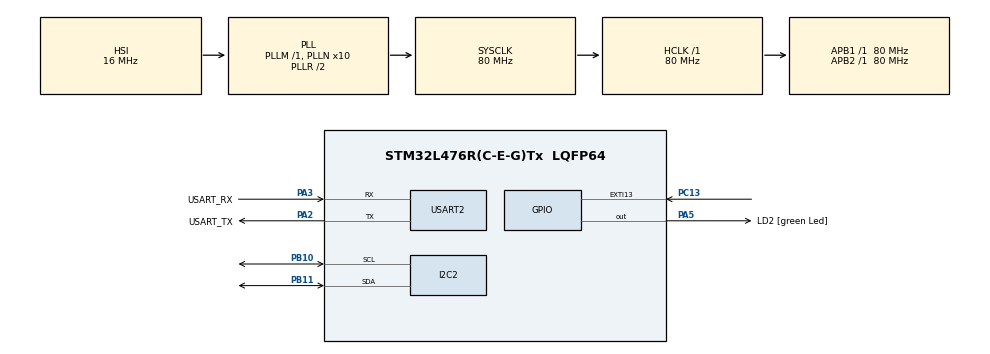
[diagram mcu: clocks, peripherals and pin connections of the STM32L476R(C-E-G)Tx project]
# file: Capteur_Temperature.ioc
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I2C2.OwnAddress2Masks=I2C_OA2_NOMASK
I2C2.Timing=0x10909CEC
Mcu.Family=STM32L4
Mcu.Name=STM32L476R(C-E-G)Tx
Mcu.Package=LQFP64
NVIC.EXTI15_10_IRQn=true\:0\:0\:false\:false\:true
NVIC.I2C2_ER_IRQn=true\:0\:0\:false\:false\:true
NVIC.I2C2_EV_IRQn=true\:0\:0\:false\:false\:true
NVIC.PriorityGroup=NVIC_PRIORITYGROUP_4
NVIC.RCC_IRQn=true\:0\:0\:false\:false\:true
NVIC.USART2_IRQn=true\:0\:0\:false\:false\:true
PA13.GPIO_Label=TMS
PA13.Signal=SYS_JTMS-SWDIO
PA14.GPIO_Label=TCK
PA14.Signal=SYS_JTCK-SWCLK
PA2.GPIO_Label=USART_TX
PA2.GPIO_Mode=GPIO_MODE_AF_PP
PA2.GPIO_PuPd=GPIO_NOPULL
PA2.GPIO_Speed=GPIO_SPEED_FREQ_VERY_HIGH
PA2.Mode=Asynchronous
PA2.Signal=USART2_TX
PA3.GPIO_Label=USART_RX
PA3.GPIO_Mode=GPIO_MODE_AF_PP
PA3.GPIO_PuPd=GPIO_NOPULL
PA3.GPIO_Speed=GPIO_SPEED_FREQ_VERY_HIGH
PA3.Mode=Asynchronous
PA3.Signal=USART2_RX
PA5.GPIO_Label=LD2 [green Led]
PA5.GPIO_ModeDefaultOutputPP=GPIO_MODE_OUTPUT_PP
PA5.GPIO_PuPd=GPIO_NOPULL
PA5.GPIO_Speed=GPIO_SPEED_FREQ_LOW
PA5.Signal=GPIO_Output
PB10.GPIO_Speed=GPIO_SPEED_FREQ_HIGH
PB10.Mode=I2C
PB10.Signal=I2C2_SCL
PB11.GPIO_Speed=GPIO_SPEED_FREQ_HIGH
PB11.Mode=I2C
PB11.Signal=I2C2_SDA
PB3.GPIO_Label=SWO
PB3.Signal=SYS_JTDO-SWO
PC13.GPIO_PuPd=GPIO_NOPULL
PC13.Signal=GPXTI13
PC14/OSC32_IN.Signal=RCC_OSC32_IN
PC15/OSC32_OUT.Signal=RCC_OSC32_OUT
PH0/OSC_IN.Mode=HSE-External-Oscillator
PH0/OSC_IN.Signal=RCC_OSC_IN
PH1/OSC_OUT.Mode=HSE-External-Oscillator
PH1/OSC_OUT.Signal=RCC_OSC_OUT
ProjectManager.HeapSize=0x200
ProjectManager.StackSize=0x400
ProjectManager.TargetToolchain=EWARM
RCC.ADCFreq_Value=64000000
RCC.AHBFreq_Value=80000000
RCC.APB1Freq_Value=80000000
RCC.APB1TimFreq_Value=80000000
RCC.APB2Freq_Value=80000000
RCC.APB2TimFreq_Value=80000000
RCC.ClockTypeHCLK=RCC_CLOCKTYPE_HCLK
RCC.ClockTypePCLK1=RCC_CLOCKTYPE_PCLK1
RCC.ClockTypePCLK2=RCC_CLOCKTYPE_PCLK2
RCC.ClockTypeSysClk=RCC_CLOCKTYPE_SYSCLK
RCC.CortexFreq_Value=80000000
RCC.EnableCSSLSE=false
RCC.EnbaleCSS=false
RCC.HCLKFreq_Value=80000000
RCC.HSE_VALUE=8000000
RCC.HSI_VALUE=16000000
RCC.LSE_VALUE=32768
RCC.MSI_VALUE=4000000
RCC.PLLN=10
RCC.PLLSourceVirtual=RCC_PLLSOURCE_HSI
RCC.PREFETCH_ENABLE=1
RCC.SYSCLKFreq_VALUE=80000000
RCC.SYSCLKSource=RCC_SYSCLKSOURCE_PLLCLK
RCC.USBFreq_Value=64000000
RCC.VCOOutputFreq_Value=160000000
USART2.HwFlowCtl-Asynchronous=UART_HWCONTROL_NONE
USART2.VirtualMode-Asynchronous=VM_ASYNC
USART2.WordLength=UART_WORDLENGTH_8B
board=NUCLEO-L476RG

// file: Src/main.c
/**
  ******************************************************************************
  * File Name          : main.c
  * Description        : Main program body
  ******************************************************************************
  *
  * COPYRIGHT(c) 2017 STMicroelectronics
  *
  * Redistribution and use in source and binary forms, with or without modification,
  * are permitted provided that the following conditions are met:
  *   1. Redistributions of source code must retain the above copyright notice,
  *      this list of conditions and the following disclaimer.
  *   2. Redistributions in binary form must reproduce the above copyright notice,
  *      this list of conditions and the following disclaimer in the documentation
  *      and/or other materials provided with the distribution.
  *   3. Neither the name of STMicroelectronics nor the names of its contributors
  *      may be used to endorse or promote products derived from this software
  *      without specific prior written permission.
  *
  * THIS SOFTWARE IS PROVIDED BY THE COPYRIGHT HOLDERS AND CONTRIBUTORS "AS IS"
  * AND ANY EXPRESS OR IMPLIED WARRANTIES, INCLUDING, BUT NOT LIMITED TO, THE
  * IMPLIED WARRANTIES OF MERCHANTABILITY AND FITNESS FOR A PARTICULAR PURPOSE ARE
  * DISCLAIMED. IN NO EVENT SHALL THE COPYRIGHT HOLDER OR CONTRIBUTORS BE LIABLE
  * FOR ANY DIRECT, INDIRECT, INCIDENTAL, SPECIAL, EXEMPLARY, OR CONSEQUENTIAL
  * DAMAGES (INCLUDING, BUT NOT LIMITED TO, PROCUREMENT OF SUBSTITUTE GOODS OR
  * SERVICES; LOSS OF USE, DATA, OR PROFITS; OR BUSINESS INTERRUPTION) HOWEVER
  * CAUSED AND ON ANY THEORY OF LIABILITY, WHETHER IN CONTRACT, STRICT LIABILITY,
  * OR TORT (INCLUDING NEGLIGENCE OR OTHERWISE) ARISING IN ANY WAY OUT OF THE USE
  * OF THIS SOFTWARE, EVEN IF ADVISED OF THE POSSIBILITY OF SUCH DAMAGE.
  *
  ******************************************************************************
  */
#include "main.h"
#include "stm32l4xx_hal.h"

/* USER CODE BEGIN Includes */
uint16_t tDelay=250;
/* USER CODE END Includes */

I2C_HandleTypeDef hi2c2;

UART_HandleTypeDef huart2;

/* USER CODE BEGIN PV */
/* Private variables ---------------------------------------------------------*/
__IO uint8_t Demande[3]={0x03,0x00,0x04};
__IO uint8_t Test[3]={0x00,0x00,0x00};
__IO uint8_t Recevoir[8];

uint8_t rec[3] = "OK\n";

float humidite=0;
float humiditeTOTAL=0;
int humiditeMB=0;
int humiditeLB=0;
float temperature=0;
float temperatureTOTAL=0;
int Thumidite=0;

//uint8_t temperatureUINT8=0;
//uint8_t humiditeUINT8=0;

char flag=0;
/* USER CODE END PV */

void SystemClock_Config(void);
void Error_Handler(void);
static void MX_GPIO_Init(void);
static void MX_I2C2_Init(void);
static void MX_USART2_UART_Init(void);

/* USER CODE BEGIN PFP */
/* Private function prototypes -----------------------------------------------*/

/* USER CODE END PFP */

/* USER CODE BEGIN 0 */
float getHumidite(){

  //conversion en decimal la valeure de l'humidite
    humiditeMB= Recevoir[2]*256;
    humiditeLB= Recevoir[3];
    humidite = (int)(humiditeMB + humiditeLB);

    humidite=(float)humidite/10;
    return humidite;
}

float getTemperature(){
    int temp=0;
    float tempTOTAL;

    temp=Recevoir[5];
    tempTOTAL=(float)temp/10;

    return tempTOTAL;

}
void connexionRecuperationCapteur(){

   HAL_I2C_Master_Transmit(&hi2c2,0xB8,(uint8_t*)Demande,3,2000);//Reveil du capteur par n'importe quelle trame
   HAL_Delay(2);
   HAL_I2C_Master_Transmit(&hi2c2,0xB8,(uint8_t*)Demande,3,2000);//B8 pour la l'écriture

  //UART communication COM6 au PC affichage d'un "OK" après la transmission

   HAL_UART_Transmit(&huart2, rec, 3, 10);

  //Reception des données venant du capteur de temperature et humidité
   HAL_I2C_Master_Receive(&hi2c2,0xB9,(uint8_t*)Recevoir,8,2000); //B9 pour la lecture

}

/* USER CODE END 0 */

int main(void)
{

  /* MCU Configuration----------------------------------------------------------*/

  /* Reset of all peripherals, Initializes the Flash interface and the Systick. */
  HAL_Init();

  /* Configure the system clock */
  SystemClock_Config();

  /* Initialize all configured peripherals */
  MX_GPIO_Init();
  MX_I2C2_Init();
  MX_USART2_UART_Init();

  /* Infinite loop */
  while (1)
  {

  /* USER CODE BEGIN 3 */

    HAL_PWR_EnterSLEEPMode(PWR_MAINREGULATOR_ON,PWR_SLEEPENTRY_WFI);

    //ne fait rien tant qu'on n'a pas appuyé sur le bouton
    if(flag>=1){
      /* HAL_I2C_Master_Transmit(&hi2c2,0xB8,(uint8_t*)Demande,3,2000);//Reveil du capteur par n'importe quelle trame
         HAL_Delay(2);
         HAL_I2C_Master_Transmit(&hi2c2,0xB8,(uint8_t*)Demande,3,2000);//B8 pour la l'écriture

        //UART communication COM6 au PC affichage d'un "OK" après la transmission

         HAL_UART_Transmit(&huart2, rec, 3, 10);

        //Reception des données venant du capteur de temperature et humidité
         HAL_I2C_Master_Receive(&hi2c2,0xB9,(uint8_t*)Recevoir,8,2000); //B9 pour la lecture
     */

     connexionRecuperationCapteur();
     //appele de la fonction de conversion pour l'humidité
     humiditeTOTAL=getHumidite();
     temperatureTOTAL=getTemperature();

     /*//clignote la LED avec interruption
    HAL_GPIO_TogglePin(GPIOA,GPIO_PIN_5);
    HAL_Delay(tDelay);*/
    flag=0;

    //HAL_UART_Transmit(&huart2, humidite, 2, 10);

    HAL_Delay(1000);
   }
  }
  /* USER CODE END 3 */

}

/** System Clock Configuration
*/
void SystemClock_Config(void)
{

  RCC_OscInitTypeDef RCC_OscInitStruct;
  RCC_ClkInitTypeDef RCC_ClkInitStruct;
  RCC_PeriphCLKInitTypeDef PeriphClkInit;

    /**Initializes the CPU, AHB and APB busses clocks
    */
  RCC_OscInitStruct.OscillatorType = RCC_OSCILLATORTYPE_HSI;
  RCC_OscInitStruct.HSIState = RCC_HSI_ON;
  RCC_OscInitStruct.HSICalibrationValue = 16;
  RCC_OscInitStruct.PLL.PLLState = RCC_PLL_ON;
  RCC_OscInitStruct.PLL.PLLSource = RCC_PLLSOURCE_HSI;
  RCC_OscInitStruct.PLL.PLLM = 1;
  RCC_OscInitStruct.PLL.PLLN = 10;
  RCC_OscInitStruct.PLL.PLLP = RCC_PLLP_DIV7;
  RCC_OscInitStruct.PLL.PLLQ = RCC_PLLQ_DIV2;
  RCC_OscInitStruct.PLL.PLLR = RCC_PLLR_DIV2;
  if (HAL_RCC_OscConfig(&RCC_OscInitStruct) != HAL_OK)
  {
    Error_Handler();
  }

    /**Initializes the CPU, AHB and APB busses clocks
    */
  RCC_ClkInitStruct.ClockType = RCC_CLOCKTYPE_HCLK|RCC_CLOCKTYPE_SYSCLK
                              |RCC_CLOCKTYPE_PCLK1|RCC_CLOCKTYPE_PCLK2;
  RCC_ClkInitStruct.SYSCLKSource = RCC_SYSCLKSOURCE_PLLCLK;
  RCC_ClkInitStruct.AHBCLKDivider = RCC_SYSCLK_DIV1;
  RCC_ClkInitStruct.APB1CLKDivider = RCC_HCLK_DIV1;
  RCC_ClkInitStruct.APB2CLKDivider = RCC_HCLK_DIV1;

  if (HAL_RCC_ClockConfig(&RCC_ClkInitStruct, FLASH_LATENCY_4) != HAL_OK)
  {
    Error_Handler();
  }

  PeriphClkInit.PeriphClockSelection = RCC_PERIPHCLK_USART2|RCC_PERIPHCLK_I2C2;
  PeriphClkInit.Usart2ClockSelection = RCC_USART2CLKSOURCE_PCLK1;
  PeriphClkInit.I2c2ClockSelection = RCC_I2C2CLKSOURCE_PCLK1;
  if (HAL_RCCEx_PeriphCLKConfig(&PeriphClkInit) != HAL_OK)
  {
    Error_Handler();
  }

    /**Configure the main internal regulator output voltage
    */
  if (HAL_PWREx_ControlVoltageScaling(PWR_REGULATOR_VOLTAGE_SCALE1) != HAL_OK)
  {
    Error_Handler();
  }

    /**Configure the Systick interrupt time
    */
  HAL_SYSTICK_Config(HAL_RCC_GetHCLKFreq()/1000);

    /**Configure the Systick
    */
  HAL_SYSTICK_CLKSourceConfig(SYSTICK_CLKSOURCE_HCLK);

  /* SysTick_IRQn interrupt configuration */
  HAL_NVIC_SetPriority(SysTick_IRQn, 0, 0);
}

/* I2C2 init function */
static void MX_I2C2_Init(void)
{

  hi2c2.Instance = I2C2;
  hi2c2.Init.Timing = 0x10909CEC;
  hi2c2.Init.OwnAddress1 = 0;
  hi2c2.Init.AddressingMode = I2C_ADDRESSINGMODE_7BIT;
  hi2c2.Init.DualAddressMode = I2C_DUALADDRESS_DISABLE;
  hi2c2.Init.OwnAddress2 = 0;
  hi2c2.Init.OwnAddress2Masks = I2C_OA2_NOMASK;
  hi2c2.Init.GeneralCallMode = I2C_GENERALCALL_DISABLE;
  hi2c2.Init.NoStretchMode = I2C_NOSTRETCH_DISABLE;
  if (HAL_I2C_Init(&hi2c2) != HAL_OK)
  {
    Error_Handler();
  }

    /**Configure Analogue filter
    */
  if (HAL_I2CEx_ConfigAnalogFilter(&hi2c2, I2C_ANALOGFILTER_ENABLE) != HAL_OK)
  {
    Error_Handler();
  }

}

/* USART2 init function */
static void MX_USART2_UART_Init(void)
{

  huart2.Instance = USART2;
  huart2.Init.BaudRate = 115200;
  huart2.Init.WordLength = UART_WORDLENGTH_8B;
  huart2.Init.StopBits = UART_STOPBITS_1;
  huart2.Init.Parity = UART_PARITY_NONE;
  huart2.Init.Mode = UART_MODE_TX_RX;
  huart2.Init.HwFlowCtl = UART_HWCONTROL_NONE;
  huart2.Init.OverSampling = UART_OVERSAMPLING_16;
  huart2.Init.OneBitSampling = UART_ONE_BIT_SAMPLE_DISABLE;
  huart2.AdvancedInit.AdvFeatureInit = UART_ADVFEATURE_NO_INIT;
  if (HAL_UART_Init(&huart2) != HAL_OK)
  {
    Error_Handler();
  }

}

/** Configure pins as
        * Analog
        * Input
        * Output
        * EVENT_OUT
        * EXTI
*/
static void MX_GPIO_Init(void)
{

  GPIO_InitTypeDef GPIO_InitStruct;

  /* GPIO Ports Clock Enable */
  __HAL_RCC_GPIOC_CLK_ENABLE();
  __HAL_RCC_GPIOH_CLK_ENABLE();
  __HAL_RCC_GPIOA_CLK_ENABLE();
  __HAL_RCC_GPIOB_CLK_ENABLE();

  /*Configure GPIO pin Output Level */
  HAL_GPIO_WritePin(LD2_GPIO_Port, LD2_Pin, GPIO_PIN_RESET);

  /*Configure GPIO pin : PC13 */
  GPIO_InitStruct.Pin = GPIO_PIN_13;
  GPIO_InitStruct.Mode = GPIO_MODE_IT_RISING;
  GPIO_InitStruct.Pull = GPIO_NOPULL;
  HAL_GPIO_Init(GPIOC, &GPIO_InitStruct);

  /*Configure GPIO pin : LD2_Pin */
  GPIO_InitStruct.Pin = LD2_Pin;
  GPIO_InitStruct.Mode = GPIO_MODE_OUTPUT_PP;
  GPIO_InitStruct.Pull = GPIO_NOPULL;
  GPIO_InitStruct.Speed = GPIO_SPEED_FREQ_LOW;
  HAL_GPIO_Init(LD2_GPIO_Port, &GPIO_InitStruct);

  /* EXTI interrupt init*/
  HAL_NVIC_SetPriority(EXTI15_10_IRQn, 0, 0);
  HAL_NVIC_EnableIRQ(EXTI15_10_IRQn);

}

void Error_Handler(void)
{
  while(1)
  {
  }
}

/************************ (C) COPYRIGHT STMicroelectronics *****END OF FILE****/
